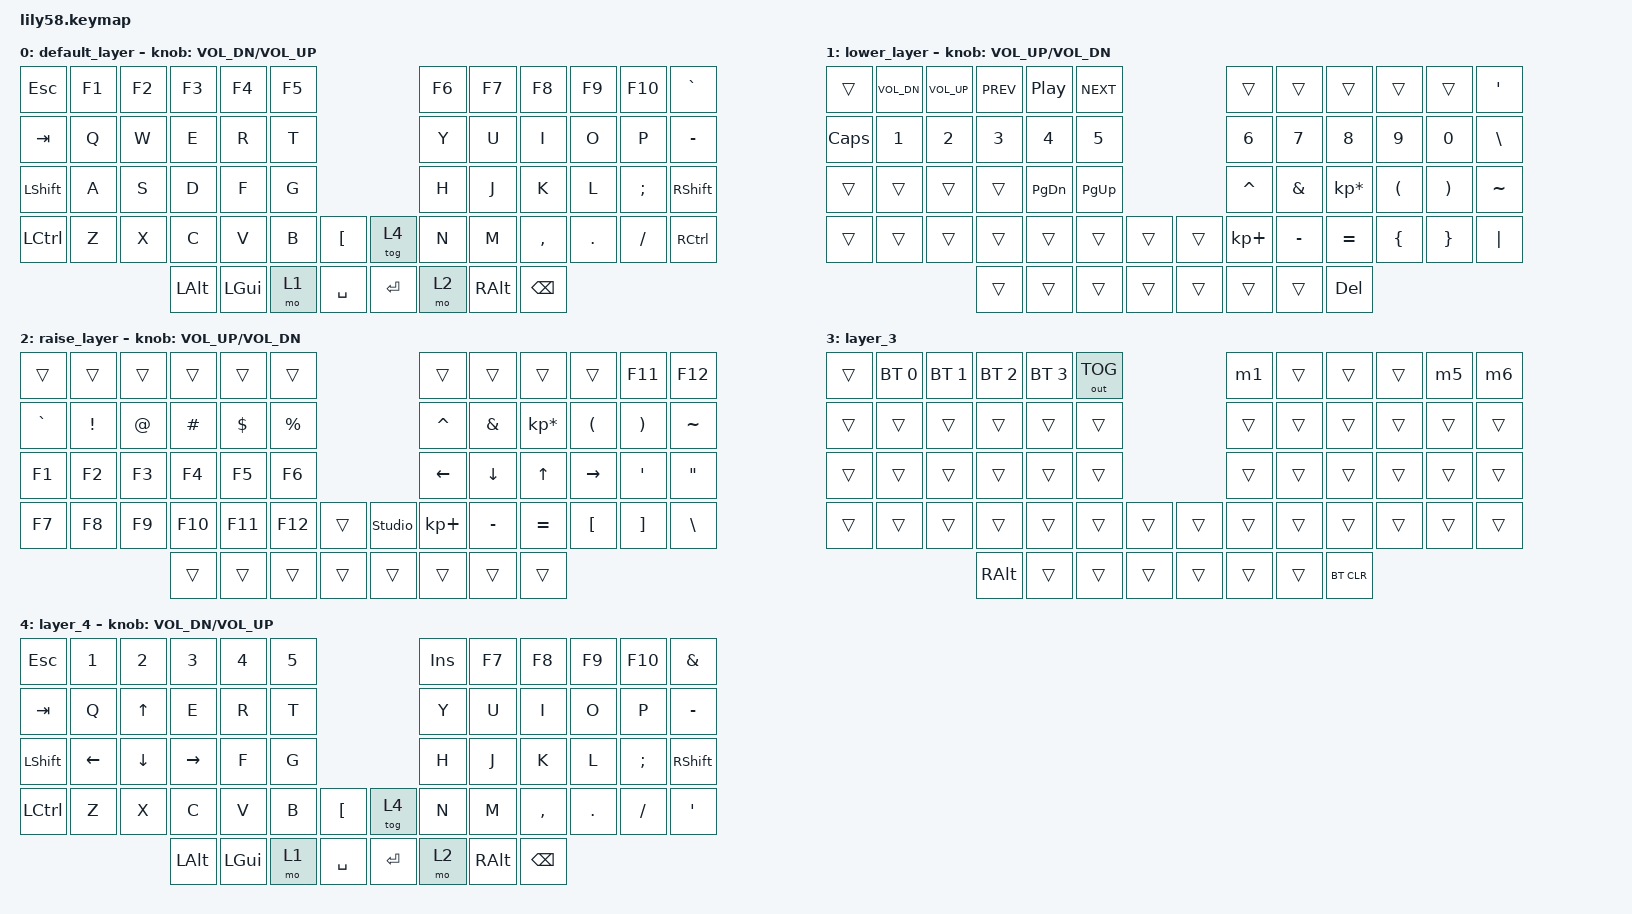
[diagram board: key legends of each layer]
/*
 * Copyright (c) 2020 The ZMK Contributors
 *
 * SPDX-License-Identifier: MIT
 */

#include <behaviors.dtsi>
#include <dt-bindings/zmk/bt.h>
#include <dt-bindings/zmk/keys.h>
#include <dt-bindings/zmk/outputs.h>

/ {
    macros {
        m1: m1 {
            compatible = "zmk,behavior-macro";
            #binding-cells = <0>;
            bindings = <&kp R &kp O &kp C &kp K &kp W &kp E &kp L &kp L>;
            label = "M1";
            wait-ms = <10>;
            tap-ms = <10>;
        };

        m5: m5 {
            compatible = "zmk,behavior-macro";
            #binding-cells = <0>;
            bindings = <&none>;
            label = "M5";
        };

        m6: m6 {
            compatible = "zmk,behavior-macro";
            #binding-cells = <0>;
            bindings = <&kp N5 &kp C &kp V &kp A &kp LS(R) &kp N5 &kp B &kp EXCL>;
            label = "M6";
        };
    };

    keymap {
        compatible = "zmk,keymap";

        default_layer {
            // ------------------------------------------------------------------------------------------------------------
            // |  ESC  |  F1  |  F2  |  F3   |  F4   |  F5   |                   |  F6   |  F7    |  F8    |  F9   |   F10   |   `   |
            // |  TAB  |  Q  |  W  |  E   |  R   |  T   |                   |  Y   |  U    |  I    |  O   |   P   |   -   |
            // | SHIFT |  A  |  S  |  D   |  F   |  G   |                   |  H   |  J    |  K    |  L   |   ;   | RSHFT |
            // | LCTRL |  Z  |  X  |  C   |  V   |  B   |   "["  |  |  "]"  |  N   |  M    |  ,    |  .   |   /   |   '   |
            //                     | LALT  | LGUI  | LOWER|  SPACE |  | ENTER | RAISE| BSPC  | GUI   |

            bindings = <
&kp ESC    &kp F1  &kp F2  &kp F3    &kp F4    &kp F5                        &kp F6  &kp F7    &kp F8     &kp F9   &kp F10   &kp GRAVE
&kp TAB    &kp Q   &kp W   &kp E     &kp R     &kp T                         &kp Y   &kp U     &kp I      &kp O    &kp P     &kp MINUS
&kp LSHFT  &kp A   &kp S   &kp D     &kp F     &kp G                         &kp H   &kp J     &kp K      &kp L    &kp SEMI  &kp RSHFT
&kp LCTRL  &kp Z   &kp X   &kp C     &kp V     &kp B   &kp LBKT     &tog 4   &kp N   &kp M     &kp COMMA  &kp DOT  &kp FSLH  &kp RCTRL
                           &kp LALT  &kp LGUI  &mo 1   &kp SPACE    &kp RET  &mo 2   &kp RALT  &kp BSPC
            >;

            sensor-bindings = <&inc_dec_kp C_VOL_DN C_VOL_UP>;
        };

        lower_layer {
            // ------------------------------------------------------------------------------------------------------------
            // |       | C_VOL_DN | C_VOL_UP |C_PREV|C_PLAY|C_NEXT|                   |      |       |       |      |       |       |
            // | CAPS  |  1  |  2  |  3   |  4   |  5   |                   |  6   |   7   |   8   |  9   |   0   |       |
            // |       |     |     |      |  PG_DN   | PG_UP|                   |  ^   |  &    |  *    |  (   |   )   |   ~   |
            // |       |     |     |      |      |      |        |  |       |  +   |   -   |   =   |  {   |   }   |  "|"  |
            //                     |      |      |      |        |  |       |      |       |       |

            bindings = <
&trans    &kp C_VOL_DN  &kp C_VOL_UP  &kp C_PREV  &kp C_PLAY_PAUSE  &kp C_NEXT                    &trans       &trans     &trans           &trans    &trans    &kp SQT
&kp CAPS  &kp N1        &kp N2        &kp N3      &kp N4            &kp N5                        &kp N6       &kp N7     &kp N8           &kp N9    &kp N0    &kp BACKSLASH
&trans    &trans        &trans        &trans      &kp PAGE_DOWN     &kp PG_UP                     &kp CARET    &kp AMPS   &kp KP_MULTIPLY  &kp LPAR  &kp RPAR  &kp TILDE
&trans    &trans        &trans        &trans      &trans            &trans      &trans    &trans  &kp KP_PLUS  &kp MINUS  &kp EQUAL        &kp LBRC  &kp RBRC  &kp PIPE
                                      &trans      &trans            &trans      &trans    &trans  &trans       &trans     &kp DELETE
            >;

            sensor-bindings = <&inc_dec_kp C_VOL_UP C_VOL_DN>;
        };

        raise_layer {
            // ------------------------------------------------------------------------------------------------------------
            // |       |     |     |      |      |      |                   |      |       |       |      |  F11  |  F12  |
            // |   `   |  !  |  @  |  #   |  $   |  %   |                   |  ^   |  &    |  *    |  (   |   )   |   ~   |
            // |   F1  |  F2 |  F3 |  F4  |  F5  |  F6  |                   |   <- |   v   |  ^    |  ->  |       |       |
            // |   F7  |  F8 |  F9 |  F10 |  F11 |  F12 |        |  |       |  +   |   -   |   =   |  [   |   ]   |   \   |
            //                     |      |      |      |        |  |       |      |       |       |

            bindings = <
&trans     &trans    &trans  &trans    &trans      &trans                       &trans       &trans     &trans           &trans     &kp F11           &kp F12
&kp GRAVE  &kp EXCL  &kp AT  &kp HASH  &kp DOLLAR  &kp PRCNT                    &kp CARET    &kp AMPS   &kp KP_MULTIPLY  &kp LPAR   &kp RPAR          &kp TILDE
&kp F1     &kp F2    &kp F3  &kp F4    &kp F5      &kp F6                       &kp LEFT     &kp DOWN   &kp UP           &kp RIGHT  &kp SINGLE_QUOTE  &kp DOUBLE_QUOTES
&kp F7     &kp F8    &kp F9  &kp F10   &kp F11     &kp F12    &trans    &studio_unlock  &kp KP_PLUS  &kp MINUS  &kp EQUAL        &kp LBKT   &kp RBKT          &kp BSLH
                             &trans    &trans      &trans     &trans    &trans  &trans       &trans     &trans
            >;

            sensor-bindings = <&inc_dec_kp C_VOL_UP C_VOL_DN>;
        };

        layer_3 {
            bindings = <
&trans  &bt BT_SEL 0  &bt BT_SEL 1  &bt BT_SEL 2  &bt BT_SEL 3  &out OUT_TOG                    &m1     &trans  &trans      &trans  &m5     &m6
&trans  &trans        &trans        &trans        &trans        &trans                          &trans  &trans  &trans      &trans  &trans  &trans
&trans  &trans        &trans        &trans        &trans        &trans                          &trans  &trans  &trans      &trans  &trans  &trans
&trans  &trans        &trans        &trans        &trans        &trans        &trans    &trans  &trans  &trans  &trans      &trans  &trans  &trans
                                    &kp RALT      &trans        &trans        &trans    &trans  &trans  &trans  &bt BT_CLR
            >;
        };

        layer_4 {
            bindings = <
&kp ESC    &kp NUMBER_1    &kp NUMBER_2    &kp NUMBER_3  &kp NUMBER_4  &kp N5                        &kp INSERT  &kp F7    &kp F8     &kp F9   &kp F10   &kp AMPS
&kp TAB    &kp Q           &kp UP_ARROW    &kp E         &kp R         &kp T                         &kp Y       &kp U     &kp I      &kp O    &kp P     &kp MINUS
&kp LSHFT  &kp LEFT_ARROW  &kp DOWN_ARROW  &kp RIGHT     &kp F         &kp G                         &kp H       &kp J     &kp K      &kp L    &kp SEMI  &kp RSHFT
&kp LCTRL  &kp Z           &kp X           &kp C         &kp V         &kp B   &kp LBKT     &tog 4   &kp N       &kp M     &kp COMMA  &kp DOT  &kp FSLH  &kp SQT
                                           &kp LALT      &kp LGUI      &mo 1   &kp SPACE    &kp RET  &mo 2       &kp RALT  &kp BSPC
            >;

            sensor-bindings = <&inc_dec_kp C_VOL_DN C_VOL_UP>;
        };
    };

    conditional_layers {
        compatible = "zmk,conditional-layers";

        third_layer {
            if-layers = <1 2>;
            then-layer = <3>;
        };
    };
};
